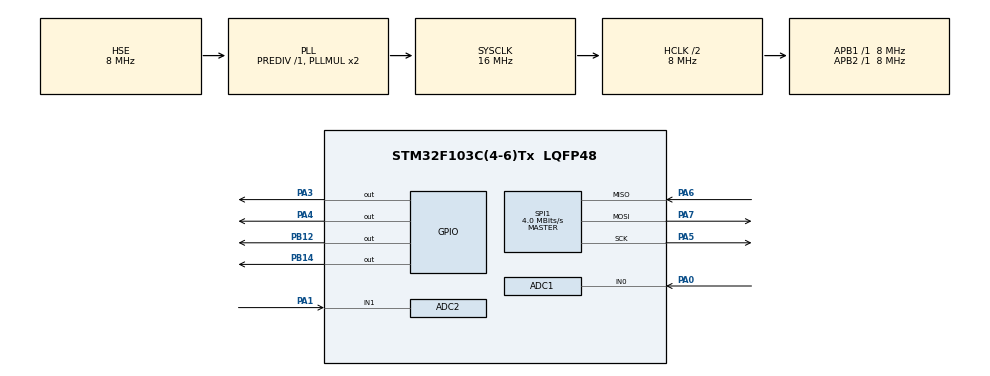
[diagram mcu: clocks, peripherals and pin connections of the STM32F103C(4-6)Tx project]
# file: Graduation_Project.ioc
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ADC1.Channel-0\#ChannelRegularConversion=ADC_CHANNEL_0
ADC1.NbrOfConversionFlag=1
ADC1.Rank-0\#ChannelRegularConversion=1
ADC1.SamplingTime-0\#ChannelRegularConversion=ADC_SAMPLETIME_1CYCLE_5
ADC1.master=1
ADC2.Channel-0\#ChannelRegularConversion=ADC_CHANNEL_1
ADC2.ContinuousConvMode=ENABLE
ADC2.NbrOfConversionFlag=1
ADC2.Rank-0\#ChannelRegularConversion=1
ADC2.SamplingTime-0\#ChannelRegularConversion=ADC_SAMPLETIME_1CYCLE_5
Mcu.Family=STM32F1
Mcu.Name=STM32F103C(4-6)Tx
Mcu.Package=LQFP48
NVIC.ADC1_2_IRQn=true\:0\:0\:false\:false\:true\:true\:true\:true
NVIC.PriorityGroup=NVIC_PRIORITYGROUP_4
NVIC.SPI1_IRQn=true\:0\:0\:false\:false\:true\:true\:true\:true
PA0-WKUP.Signal=ADCx_IN0
PA1.Signal=ADCx_IN1
PA13.Mode=Serial_Wire
PA13.Signal=SYS_JTMS-SWDIO
PA14.Mode=Serial_Wire
PA14.Signal=SYS_JTCK-SWCLK
PA3.Signal=GPIO_Output
PA4.Signal=GPIO_Output
PA5.Mode=Full_Duplex_Master
PA5.Signal=SPI1_SCK
PA6.Mode=Full_Duplex_Master
PA6.Signal=SPI1_MISO
PA7.Mode=Full_Duplex_Master
PA7.Signal=SPI1_MOSI
PB12.Signal=GPIO_Output
PB14.Signal=GPIO_Output
PD0-OSC_IN.Mode=HSE-External-Oscillator
PD0-OSC_IN.Signal=RCC_OSC_IN
PD1-OSC_OUT.Mode=HSE-External-Oscillator
PD1-OSC_OUT.Signal=RCC_OSC_OUT
ProjectManager.HeapSize=0x200
ProjectManager.StackSize=0x400
ProjectManager.TargetToolchain=STM32CubeIDE
RCC.AHBCLKDivider=RCC_SYSCLK_DIV2
RCC.AHBFreq_Value=8000000
RCC.APB1Freq_Value=8000000
RCC.APB1TimFreq_Value=8000000
RCC.APB2Freq_Value=8000000
RCC.APB2TimFreq_Value=8000000
RCC.HCLKFreq_Value=8000000
RCC.PLLSourceVirtual=RCC_PLLSOURCE_HSE
RCC.SYSCLKFreq_VALUE=16000000
RCC.SYSCLKSource=RCC_SYSCLKSOURCE_PLLCLK
RCC.USBFreq_Value=16000000
SH.ADCx_IN0.0=ADC1_IN0,IN0
SH.ADCx_IN1.0=ADC2_IN1,IN1
SPI1.BaudRatePrescaler=SPI_BAUDRATEPRESCALER_2
SPI1.CalculateBaudRate=4.0 MBits/s
SPI1.Direction=SPI_DIRECTION_2LINES
SPI1.Mode=SPI_MODE_MASTER
SPI1.VirtualType=VM_MASTER
board=custom

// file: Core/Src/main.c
/* USER CODE BEGIN Header */
/**
  ******************************************************************************
  * @file           : main.c
  * @brief          : Graduation project transmitter
  ******************************************************************************

  ******************************************************************************
  */
/* USER CODE END Header */
#include "main.h"

/* USER CODE BEGIN Includes */
#include "NRF24L01.h"
/* USER CODE END Includes */

/* USER CODE BEGIN PM */
//ADC
uint32_t ADC_Read_Potentiometer_speed;
uint32_t Left_motor_speed;

uint32_t ADC_Read_Joy_Direction;
uint32_t Right_motor_speed;

//NRF
uint8_t TxAddress[] = {0xEE,0xDD,0xCC,0xBB,0xAA}; //Tx address
uint8_t TxData[2];

/* USER CODE END PM */

ADC_HandleTypeDef hadc1;
ADC_HandleTypeDef hadc2;

SPI_HandleTypeDef hspi1;

void SystemClock_Config(void);
static void MX_GPIO_Init(void);
static void MX_ADC1_Init(void);
static void MX_ADC2_Init(void);
static void MX_SPI1_Init(void);

/* USER CODE BEGIN 0 */
long map(long x, long in_min, long in_max, long out_min, long out_max) {
 return (x - in_min) * (out_max - out_min + 1) / (in_max - in_min + 1) + out_min;
 }

void HAL_SPI_TxCpltCallback(SPI_HandleTypeDef *hspi){
	 HAL_GPIO_TogglePin(GPIOB, GPIO_PIN_12);
}
/* USER CODE END 0 */

int main(void)
{

  /* MCU Configuration--------------------------------------------------------*/

  /* Reset of all peripherals, Initializes the Flash interface and the Systick. */
  HAL_Init();

  /* Configure the system clock */
  SystemClock_Config();

  /* Initialize all configured peripherals */
  MX_GPIO_Init();
  MX_ADC1_Init();
  MX_ADC2_Init();
  MX_SPI1_Init();
  /* USER CODE BEGIN 2 */

  //NRF Initialization as transmitter
  NRF24_Init();
  NRF24_TxMode(TxAddress, 10); //trasmit mode

  //ADC Initialization
  HAL_ADCEx_Calibration_Start(&hadc1); //calibrate ADC before ADC start
  HAL_ADCEx_Calibration_Start(&hadc2);
  /* USER CODE END 2 */

  /* Infinite loop */
  /* USER CODE BEGIN WHILE */
  while (1)
  {
	  HAL_ADC_Start(&hadc1);
	  HAL_ADC_Start(&hadc2);

	  ADC_Read_Potentiometer_speed= HAL_ADC_GetValue(&hadc1);//reading of speed potiometer;
	  ADC_Read_Joy_Direction= HAL_ADC_GetValue(&hadc2);//reading of x;

//	  adjustMotorSpeed(ADC_Read_Potentiometer_speed,ADC_Read_Joy_Direction,TxData);
	  //we should create array after value has assigned to the variables
	  //convert 10bit adc to 8 bit
	  TxData[0]= map(ADC_Read_Potentiometer_speed, 0, 4096, 0, 255);
	  TxData[1]=map(ADC_Read_Joy_Direction,0,4096,0,255);

	  if (NRF24_Transmit(TxData) == 1)
	  {
		  HAL_GPIO_TogglePin(GPIOB, GPIO_PIN_12);
	  }

	  //suspend tick increment to prevent walk up by systick INTR otherwise it will walkup each 1ms
	   HAL_Delay(10);

	//   HAL_SuspendTick();
	   //enter sleep mode
//	   HAL_PWR_EnterSLEEPMode(PWR_MAINREGULATOR_ON, PWR_SLEEPENTRY_WFI); //INTR walkup WFI
//	   HAL_ResumeTick();

    /* USER CODE END WHILE */

  }
}

void SystemClock_Config(void)
{
  RCC_OscInitTypeDef RCC_OscInitStruct = {0};
  RCC_ClkInitTypeDef RCC_ClkInitStruct = {0};
  RCC_PeriphCLKInitTypeDef PeriphClkInit = {0};

  /** Initializes the RCC Oscillators according to the specified parameters
  * in the RCC_OscInitTypeDef structure.
  */
  RCC_OscInitStruct.OscillatorType = RCC_OSCILLATORTYPE_HSE;
  RCC_OscInitStruct.HSEState = RCC_HSE_ON;
  RCC_OscInitStruct.HSEPredivValue = RCC_HSE_PREDIV_DIV1;
  RCC_OscInitStruct.HSIState = RCC_HSI_ON;
  RCC_OscInitStruct.PLL.PLLState = RCC_PLL_ON;
  RCC_OscInitStruct.PLL.PLLSource = RCC_PLLSOURCE_HSE;
  RCC_OscInitStruct.PLL.PLLMUL = RCC_PLL_MUL2;
  if (HAL_RCC_OscConfig(&RCC_OscInitStruct) != HAL_OK)
  {
    Error_Handler();
  }

  /** Initializes the CPU, AHB and APB buses clocks
  */
  RCC_ClkInitStruct.ClockType = RCC_CLOCKTYPE_HCLK|RCC_CLOCKTYPE_SYSCLK
                              |RCC_CLOCKTYPE_PCLK1|RCC_CLOCKTYPE_PCLK2;
  RCC_ClkInitStruct.SYSCLKSource = RCC_SYSCLKSOURCE_PLLCLK;
  RCC_ClkInitStruct.AHBCLKDivider = RCC_SYSCLK_DIV2;
  RCC_ClkInitStruct.APB1CLKDivider = RCC_HCLK_DIV1;
  RCC_ClkInitStruct.APB2CLKDivider = RCC_HCLK_DIV1;

  if (HAL_RCC_ClockConfig(&RCC_ClkInitStruct, FLASH_LATENCY_0) != HAL_OK)
  {
    Error_Handler();
  }
  PeriphClkInit.PeriphClockSelection = RCC_PERIPHCLK_ADC;
  PeriphClkInit.AdcClockSelection = RCC_ADCPCLK2_DIV2;
  if (HAL_RCCEx_PeriphCLKConfig(&PeriphClkInit) != HAL_OK)
  {
    Error_Handler();
  }
}

static void MX_ADC1_Init(void)
{

  ADC_ChannelConfTypeDef sConfig = {0};

  /** Common config
  */
  hadc1.Instance = ADC1;
  hadc1.Init.ScanConvMode = ADC_SCAN_DISABLE;
  hadc1.Init.ContinuousConvMode = DISABLE;
  hadc1.Init.DiscontinuousConvMode = DISABLE;
  hadc1.Init.ExternalTrigConv = ADC_SOFTWARE_START;
  hadc1.Init.DataAlign = ADC_DATAALIGN_RIGHT;
  hadc1.Init.NbrOfConversion = 1;
  if (HAL_ADC_Init(&hadc1) != HAL_OK)
  {
    Error_Handler();
  }

  /** Configure Regular Channel
  */
  sConfig.Channel = ADC_CHANNEL_0;
  sConfig.Rank = ADC_REGULAR_RANK_1;
  sConfig.SamplingTime = ADC_SAMPLETIME_1CYCLE_5;
  if (HAL_ADC_ConfigChannel(&hadc1, &sConfig) != HAL_OK)
  {
    Error_Handler();
  }

}

static void MX_ADC2_Init(void)
{

  ADC_ChannelConfTypeDef sConfig = {0};

  /** Common config
  */
  hadc2.Instance = ADC2;
  hadc2.Init.ScanConvMode = ADC_SCAN_DISABLE;
  hadc2.Init.ContinuousConvMode = ENABLE;
  hadc2.Init.DiscontinuousConvMode = DISABLE;
  hadc2.Init.ExternalTrigConv = ADC_SOFTWARE_START;
  hadc2.Init.DataAlign = ADC_DATAALIGN_RIGHT;
  hadc2.Init.NbrOfConversion = 1;
  if (HAL_ADC_Init(&hadc2) != HAL_OK)
  {
    Error_Handler();
  }

  /** Configure Regular Channel
  */
  sConfig.Channel = ADC_CHANNEL_1;
  sConfig.Rank = ADC_REGULAR_RANK_1;
  sConfig.SamplingTime = ADC_SAMPLETIME_1CYCLE_5;
  if (HAL_ADC_ConfigChannel(&hadc2, &sConfig) != HAL_OK)
  {
    Error_Handler();
  }

}

static void MX_SPI1_Init(void)
{

  /* SPI1 parameter configuration*/
  hspi1.Instance = SPI1;
  hspi1.Init.Mode = SPI_MODE_MASTER;
  hspi1.Init.Direction = SPI_DIRECTION_2LINES;
  hspi1.Init.DataSize = SPI_DATASIZE_8BIT;
  hspi1.Init.CLKPolarity = SPI_POLARITY_LOW;
  hspi1.Init.CLKPhase = SPI_PHASE_1EDGE;
  hspi1.Init.NSS = SPI_NSS_SOFT;
  hspi1.Init.BaudRatePrescaler = SPI_BAUDRATEPRESCALER_2;
  hspi1.Init.FirstBit = SPI_FIRSTBIT_MSB;
  hspi1.Init.TIMode = SPI_TIMODE_DISABLE;
  hspi1.Init.CRCCalculation = SPI_CRCCALCULATION_DISABLE;
  hspi1.Init.CRCPolynomial = 10;
  if (HAL_SPI_Init(&hspi1) != HAL_OK)
  {
    Error_Handler();
  }

}

static void MX_GPIO_Init(void)
{
  GPIO_InitTypeDef GPIO_InitStruct = {0};

  /* GPIO Ports Clock Enable */
  __HAL_RCC_GPIOD_CLK_ENABLE();
  __HAL_RCC_GPIOA_CLK_ENABLE();
  __HAL_RCC_GPIOB_CLK_ENABLE();

  /*Configure GPIO pin Output Level */
  HAL_GPIO_WritePin(GPIOA, GPIO_PIN_3|GPIO_PIN_4, GPIO_PIN_RESET);

  /*Configure GPIO pin Output Level */
  HAL_GPIO_WritePin(GPIOB, GPIO_PIN_12|GPIO_PIN_14, GPIO_PIN_RESET);

  /*Configure GPIO pins : PA3 PA4 */
  GPIO_InitStruct.Pin = GPIO_PIN_3|GPIO_PIN_4;
  GPIO_InitStruct.Mode = GPIO_MODE_OUTPUT_PP;
  GPIO_InitStruct.Pull = GPIO_NOPULL;
  GPIO_InitStruct.Speed = GPIO_SPEED_FREQ_LOW;
  HAL_GPIO_Init(GPIOA, &GPIO_InitStruct);

  /*Configure GPIO pins : PB12 PB14 */
  GPIO_InitStruct.Pin = GPIO_PIN_12|GPIO_PIN_14;
  GPIO_InitStruct.Mode = GPIO_MODE_OUTPUT_PP;
  GPIO_InitStruct.Pull = GPIO_NOPULL;
  GPIO_InitStruct.Speed = GPIO_SPEED_FREQ_LOW;
  HAL_GPIO_Init(GPIOB, &GPIO_InitStruct);

}

void Error_Handler(void)
{
  __disable_irq();
  while (1)
  {
  }
}
